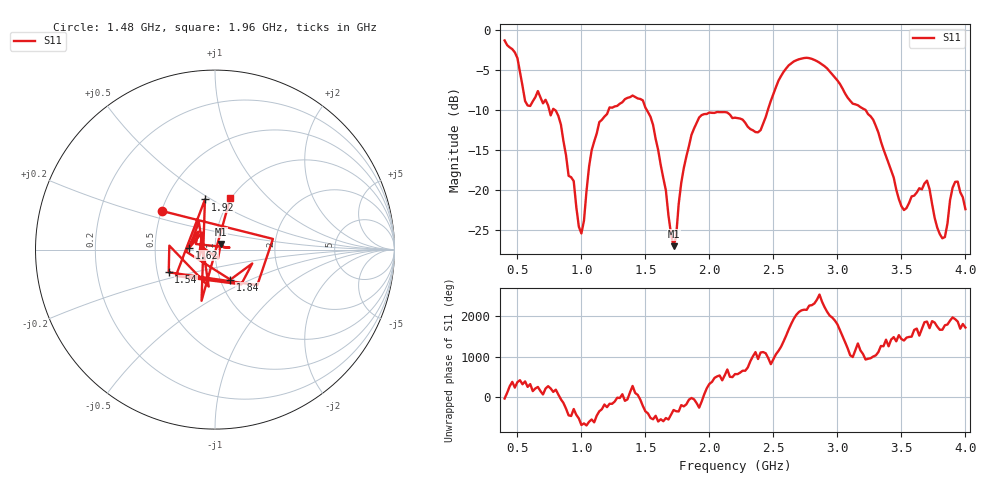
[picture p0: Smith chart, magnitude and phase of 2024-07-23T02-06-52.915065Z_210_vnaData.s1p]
!Created with skrf (http://scikit-rf.org).
# Hz S RI R 50.0
!freq ReS11 ImS11
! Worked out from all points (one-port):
!   181 points, 400 MHz to 4 GHz, reference 50 ohm
!   lowest |S11| = -27.0 dB at 1.72 GHz (marker M1), VSWR 1.09, Z = 53.2 + j3.28 ohm
!   |S11| at or under -10 dB: 794.9 MHz to 1.212 GHz (416.9 MHz wide, 41.5 % of centre); 1.512 GHz to 2.456 GHz (944.6 MHz wide, 47.6 % of centre); 3.221 GHz to end of sweep (the widest 3 of 4)
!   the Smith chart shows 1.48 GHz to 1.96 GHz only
!   S11 on the Smith chart (normalised r, x): 1.48 GHz: 0.50, +0.25; 1.54 GHz: 0.57, -0.16; 1.62 GHz: 0.75, +0.02; 1.84 GHz: 1.12, -0.39; 1.92 GHz: 0.77, +0.47; 1.96 GHz: 0.99, +0.62
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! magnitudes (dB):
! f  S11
! 400 MHz  -1.3
! 500 MHz  -3.5
! 580 MHz  -9.4
! 660 MHz  -7.6
! 860 MHz  -13.9
! 1 GHz  -25.4
! 1.08 GHz  -15.0
! 1.14 GHz  -11.5
! 1.3 GHz  -9.2
! 1.48 GHz  -8.8
! 1.54 GHz  -10.8
! 1.62 GHz  -16.9
! 1.72 GHz  -27.0
! 1.76 GHz  -21.8
! 1.84 GHz  -14.5
! 1.92 GHz  -10.9
! 1.96 GHz  -10.5
! 2.2 GHz  -10.9
! 2.4 GHz  -12.5
! 2.66 GHz  -3.9
! 3.1 GHz  -8.8
! 3.28 GHz  -11.2
! 3.5 GHz  -22.0
! 3.56 GHz  -21.6
! 3.7 GHz  -18.8
! 3.82 GHz  -26.1
! 3.92 GHz  -19.0
! 4 GHz  -22.4
